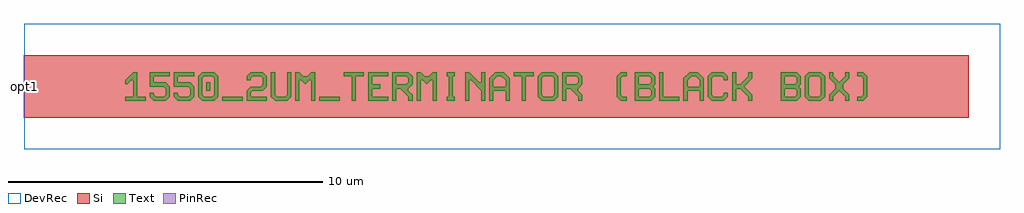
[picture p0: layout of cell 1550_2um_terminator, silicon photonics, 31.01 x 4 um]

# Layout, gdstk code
import gdstk
lib = gdstk.Library(unit=1e-6, precision=1e-09)
def R(c, l, rs):  # rectangles x0, y0, x1, y1
    for r in rs: c.add(gdstk.rectangle(r[:2], r[2:], *l))
def P(c, l, *ps):  # polygons
    for p in ps: c.add(gdstk.Polygon(p, *l))
Si = (1, 0)
PinRec = (1, 10)
Text = (10, 0)
DevRec = (68, 0)

text = lib.new_cell('TEXT')
R(text, Text, [(3.084,0,3.727,0.129), (6.168,0,6.811,0.129), (2.57,0.321,2.699,0.579)])
P(text, Text, [(0,0),(0,0.129),(0.257,0.129),(0.257,0.643),(0.193,0.643),(0.064,0.514),(0,0.514),(0,0.643),(0.257,0.9),(0.386,0.9),(0.386,0.129),(0.643,0.129),(0.643,0)],
  [(0.9,0),(0.771,0.129),(0.771,0.257),(0.9,0.257),(0.9,0.193),(0.964,0.129),(1.221,0.129),(1.285,0.193),(1.285,0.386),(1.221,0.45),(0.771,0.45),(0.771,0.9),(1.414,0.9),(1.414,0.771),(0.9,0.771),(0.9,0.579),(1.285,0.579),(1.414,0.45),(1.414,0.129),(1.285,0)],
  [(1.671,0),(1.542,0.129),(1.542,0.257),(1.671,0.257),(1.671,0.193),(1.735,0.129),(1.992,0.129),(2.056,0.193),(2.056,0.386),(1.992,0.45),(1.542,0.45),(1.542,0.9),(2.185,0.9),(2.185,0.771),(1.671,0.771),(1.671,0.579),(2.056,0.579),(2.185,0.45),(2.185,0.129),(2.056,0)],
  [(2.442,0),(2.313,0.129),(2.313,0.771),(2.442,0.9),(2.827,0.9),(2.956,0.771),(2.506,0.771),(2.442,0.707),(2.442,0.193),(2.506,0.129),(2.763,0.129),(2.827,0.193),(2.827,0.707),(2.763,0.771),(2.956,0.771),(2.956,0.129),(2.827,0)],
  [(3.855,0),(3.855,0.321),(3.984,0.45),(4.305,0.45),(4.369,0.514),(4.369,0.707),(4.305,0.771),(4.048,0.771),(3.984,0.707),(3.984,0.643),(3.855,0.643),(3.855,0.771),(3.984,0.9),(4.369,0.9),(4.498,0.771),(4.498,0.45),(4.369,0.321),(4.048,0.321),(3.984,0.257),(3.984,0.129),(4.498,0.129),(4.498,0)],
  [(4.755,0),(4.626,0.129),(4.626,0.9),(4.755,0.9),(4.755,0.193),(4.819,0.129),(5.076,0.129),(5.14,0.193),(5.14,0.9),(5.269,0.9),(5.269,0.129),(5.14,0)],
  [(5.397,0),(5.397,0.9),(5.526,0.9),(5.654,0.771),(5.783,0.771),(5.911,0.9),(6.04,0.9),(6.04,0),(5.911,0),(5.911,0.643),(5.847,0.643),(5.718,0.514),(5.59,0.643),(5.526,0.643),(5.526,0)],
  [(7.196,0),(7.196,0.771),(6.939,0.771),(6.939,0.9),(7.582,0.9),(7.582,0.771),(7.325,0.771),(7.325,0)],
  [(7.71,0),(7.71,0.9),(8.353,0.9),(8.353,0.771),(7.839,0.771),(7.839,0.514),(8.096,0.514),(8.096,0.386),(7.839,0.386),(7.839,0.129),(8.353,0.129),(8.353,0)],
  [(8.481,0),(8.481,0.9),(8.995,0.9),(9.124,0.771),(8.61,0.771),(8.61,0.514),(8.931,0.514),(8.995,0.579),(8.995,0.707),(8.931,0.771),(9.124,0.771),(9.124,0.514),(8.995,0.386),(8.995,0.321),(9.124,0.193),(9.124,0),(8.995,0),(8.995,0.129),(8.738,0.386),(8.61,0.386),(8.61,0)],
  [(9.252,0),(9.252,0.9),(9.381,0.9),(9.509,0.771),(9.638,0.771),(9.766,0.9),(9.895,0.9),(9.895,0),(9.766,0),(9.766,0.643),(9.702,0.643),(9.573,0.514),(9.445,0.643),(9.381,0.643),(9.381,0)],
  [(10.216,0),(10.216,0.129),(10.28,0.129),(10.28,0.771),(10.216,0.771),(10.216,0.9),(10.473,0.9),(10.473,0.771),(10.409,0.771),(10.409,0.129),(10.473,0.129),(10.473,0)],
  [(10.794,0),(10.794,0.9),(10.923,0.9),(11.244,0.579),(11.308,0.579),(11.308,0.9),(11.437,0.9),(11.437,0),(11.308,0),(11.308,0.321),(10.987,0.643),(10.923,0.643),(10.923,0)],
  [(11.565,0),(11.565,0.707),(11.758,0.9),(12.015,0.9),(12.144,0.771),(11.822,0.771),(11.694,0.643),(11.694,0.45),(12.079,0.45),(12.079,0.643),(11.951,0.771),(12.144,0.771),(12.208,0.707),(12.208,0),(12.079,0),(12.079,0.321),(11.694,0.321),(11.694,0)],
  [(12.593,0),(12.593,0.771),(12.336,0.771),(12.336,0.9),(12.979,0.9),(12.979,0.771),(12.722,0.771),(12.722,0)],
  [(13.236,0),(13.107,0.129),(13.107,0.771),(13.236,0.9),(13.621,0.9),(13.75,0.771),(13.75,0.45),(13.621,0.45),(13.621,0.707),(13.557,0.771),(13.3,0.771),(13.236,0.707),(13.236,0.193),(13.3,0.129),(13.557,0.129),(13.621,0.193),(13.621,0.45),(13.75,0.45),(13.75,0.129),(13.621,0)],
  [(13.878,0),(13.878,0.9),(14.392,0.9),(14.521,0.771),(14.007,0.771),(14.007,0.514),(14.328,0.514),(14.392,0.579),(14.392,0.707),(14.328,0.771),(14.521,0.771),(14.521,0.514),(14.392,0.386),(14.392,0.321),(14.521,0.193),(14.521,0),(14.392,0),(14.392,0.129),(14.135,0.386),(14.007,0.386),(14.007,0)],
  [(15.741,0),(15.613,0.129),(15.613,0.771),(15.741,0.9),(15.934,0.9),(15.934,0.771),(15.806,0.771),(15.741,0.707),(15.741,0.193),(15.806,0.129),(15.934,0.129),(15.934,0)],
  [(16.191,0),(16.191,0.9),(16.705,0.9),(16.834,0.771),(16.32,0.771),(16.32,0.514),(16.641,0.514),(16.705,0.579),(16.705,0.707),(16.641,0.771),(16.834,0.771),(16.834,0.514),(16.77,0.45),(16.834,0.386),(16.32,0.386),(16.32,0.129),(16.641,0.129),(16.705,0.193),(16.705,0.321),(16.641,0.386),(16.834,0.386),(16.834,0.129),(16.705,0)],
  [(16.962,0),(16.962,0.9),(17.091,0.9),(17.091,0.129),(17.605,0.129),(17.605,0)],
  [(17.733,0),(17.733,0.707),(17.926,0.9),(18.183,0.9),(18.312,0.771),(17.99,0.771),(17.862,0.643),(17.862,0.45),(18.247,0.45),(18.247,0.643),(18.119,0.771),(18.312,0.771),(18.376,0.707),(18.376,0),(18.247,0),(18.247,0.321),(17.862,0.321),(17.862,0)],
  [(18.633,0),(18.504,0.129),(18.504,0.771),(18.633,0.9),(19.018,0.9),(19.147,0.771),(19.147,0.643),(19.018,0.643),(19.018,0.707),(18.954,0.771),(18.697,0.771),(18.633,0.707),(18.633,0.193),(18.697,0.129),(18.954,0.129),(19.018,0.193),(19.018,0.257),(19.147,0.257),(19.147,0.129),(19.018,0)],
  [(19.275,0),(19.275,0.9),(19.404,0.9),(19.404,0.514),(19.532,0.514),(19.789,0.771),(19.789,0.9),(19.918,0.9),(19.918,0.707),(19.661,0.45),(19.918,0.193),(19.918,0),(19.789,0),(19.789,0.129),(19.532,0.386),(19.404,0.386),(19.404,0)],
  [(20.817,0),(20.817,0.9),(21.331,0.9),(21.46,0.771),(20.946,0.771),(20.946,0.514),(21.267,0.514),(21.331,0.579),(21.331,0.707),(21.267,0.771),(21.46,0.771),(21.46,0.514),(21.396,0.45),(21.46,0.386),(20.946,0.386),(20.946,0.129),(21.267,0.129),(21.331,0.193),(21.331,0.321),(21.267,0.386),(21.46,0.386),(21.46,0.129),(21.331,0)],
  [(21.717,0),(21.588,0.129),(21.588,0.771),(21.717,0.9),(22.102,0.9),(22.231,0.771),(22.231,0.45),(22.102,0.45),(22.102,0.707),(22.038,0.771),(21.781,0.771),(21.717,0.707),(21.717,0.193),(21.781,0.129),(22.038,0.129),(22.102,0.193),(22.102,0.45),(22.231,0.45),(22.231,0.129),(22.102,0)],
  [(22.359,0),(22.359,0.193),(22.552,0.386),(22.552,0.514),(22.359,0.707),(22.359,0.9),(22.488,0.9),(22.488,0.771),(22.68,0.579),(22.873,0.771),(22.873,0.9),(23.002,0.9),(23.002,0.707),(22.809,0.514),(22.809,0.386),(23.002,0.193),(23.002,0),(22.873,0),(22.873,0.129),(22.68,0.321),(22.488,0.129),(22.488,0)],
  [(23.259,0),(23.259,0.129),(23.387,0.129),(23.451,0.193),(23.451,0.707),(23.387,0.771),(23.259,0.771),(23.259,0.9),(23.451,0.9),(23.58,0.771),(23.58,0.129),(23.451,0)])

c_1550_2um_terminator = lib.new_cell('1550_2um_terminator')
R(c_1550_2um_terminator, Si, [(-15,-1,15,1)])
R(c_1550_2um_terminator, DevRec, [(-15,-2,16,2)])
c_1550_2um_terminator.add(gdstk.FlexPath([(-14.99,0),(-15.01,0)], 2, ends="flush", simple_path=True, layer=1, datatype=10))  # PinRec
c_1550_2um_terminator.add(gdstk.Reference(text, (-11.79,-0.45)))
c_1550_2um_terminator.add(gdstk.Label('opt1', (-15,0), layer=1, texttype=10))

lib.write_gds('1550_2um_terminator.gds')
